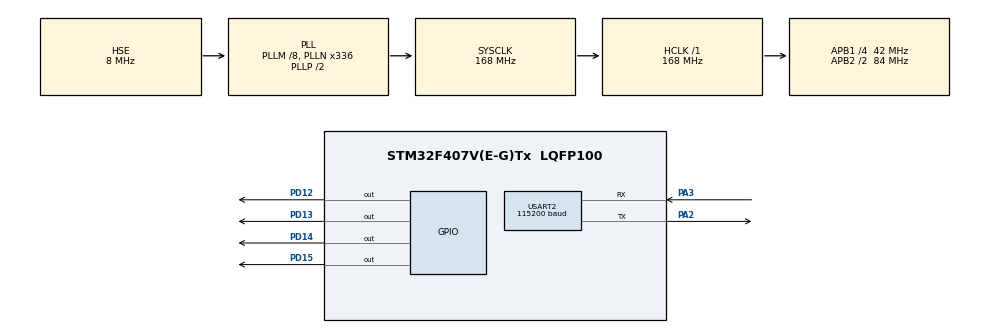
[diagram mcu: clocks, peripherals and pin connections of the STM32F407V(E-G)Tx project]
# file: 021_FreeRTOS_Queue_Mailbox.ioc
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FREERTOS.Tasks01=defaultTask,24,128,StartDefaultTask,Default,NULL,Dynamic,NULL,NULL
FREERTOS.configUSE_NEWLIB_REENTRANT=1
Mcu.Family=STM32F4
Mcu.Name=STM32F407V(E-G)Tx
Mcu.Package=LQFP100
NVIC.PriorityGroup=NVIC_PRIORITYGROUP_4
NVIC.TIM8_TRG_COM_TIM14_IRQn=true\:15\:0\:false\:false\:true\:false\:false\:true\:true
NVIC.TimeBase=TIM8_TRG_COM_TIM14_IRQn
NVIC.TimeBaseIP=TIM14
NVIC.USART2_IRQn=true\:5\:0\:false\:false\:true\:true\:true\:true\:true
PA2.Mode=Asynchronous
PA2.Signal=USART2_TX
PA3.Mode=Asynchronous
PA3.Signal=USART2_RX
PD12.Signal=GPIO_Output
PD13.Signal=GPIO_Output
PD14.Signal=GPIO_Output
PD15.Signal=GPIO_Output
PH0-OSC_IN.Mode=HSE-External-Oscillator
PH0-OSC_IN.Signal=RCC_OSC_IN
PH1-OSC_OUT.Mode=HSE-External-Oscillator
PH1-OSC_OUT.Signal=RCC_OSC_OUT
ProjectManager.HeapSize=0x200
ProjectManager.StackSize=0x400
ProjectManager.TargetToolchain=STM32CubeIDE
RCC.48MHZClocksFreq_Value=48000000
RCC.AHBFreq_Value=168000000
RCC.APB1CLKDivider=RCC_HCLK_DIV4
RCC.APB1Freq_Value=42000000
RCC.APB1TimFreq_Value=84000000
RCC.APB2CLKDivider=RCC_HCLK_DIV2
RCC.APB2Freq_Value=84000000
RCC.APB2TimFreq_Value=168000000
RCC.CortexFreq_Value=168000000
RCC.HCLKFreq_Value=168000000
RCC.HSE_VALUE=8000000
RCC.HSI_VALUE=16000000
RCC.LSE_VALUE=32768
RCC.PLLM=8
RCC.PLLN=336
RCC.PLLQ=7
RCC.PLLSourceVirtual=RCC_PLLSOURCE_HSE
RCC.SYSCLKFreq_VALUE=168000000
RCC.SYSCLKSource=RCC_SYSCLKSOURCE_PLLCLK
RCC.VCOOutputFreq_Value=336000000
USART2.BaudRate=115200
USART2.VirtualMode=VM_ASYNC
VP_FREERTOS_VS_CMSIS_V2.Mode=CMSIS_V2
VP_SYS_VS_tim14.Mode=TIM14
board=STM32F407G-DISC1

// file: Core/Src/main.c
/* USER CODE BEGIN Header */
/**
  ******************************************************************************
  * @file           : main.c
  * @brief          : Main program body
  ******************************************************************************
  * @attention
  *
  * Copyright (c) 2023 STMicroelectronics.
  * All rights reserved.
  *
  * This software is licensed under terms that can be found in the LICENSE file
  * in the root directory of this software component.
  * If no LICENSE file comes with this software, it is provided AS-IS.
  *
  ******************************************************************************
  */
/* USER CODE END Header */
#include "main.h"
/* USER CODE BEGIN Includes */
#include "FreeRTOS.h"
#include <stdlib.h>
#include <time.h>
#include "task.h"
#include <string.h>
#include "queue.h"
/* USER CODE END Includes */

UART_HandleTypeDef huart2;

/* Definitions for defaultTask */

/* USER CODE BEGIN PV */
QueueHandle_t xMailbox;

typedef struct xExampleStructure
{
	TickType_t xTimeStamp;
	uint32_t ulValue;
}Example_t;
/* USER CODE END PV */

void SystemClock_Config(void);
static void MX_GPIO_Init(void);
static void MX_USART2_UART_Init(void);

/* USER CODE BEGIN 0 */
void vAFunction(void)
{
	xMailbox = xQueueCreate(1, sizeof(Example_t));
}
void vUpdateMailbox(uint32_t ulNewValue)
{
	Example_t xData;

	xData.ulValue = ulNewValue;
	xData.xTimeStamp = xTaskGetTickCount();

	xQueueOverwrite(xMailbox, &xData);
}
BaseType_t vReadMailbox(Example_t *pxData)
{
	TickType_t xPreviousTimeStamp;
	BaseType_t xDataUpdated;

	xPreviousTimeStamp = pxData->xTimeStamp;

	xQueuePeek(xMailbox, pxData, portMAX_DELAY);
	if(pxData->xTimeStamp > xPreviousTimeStamp)
		xDataUpdated = pdTRUE;
	else
		xDataUpdated = pdFALSE;

	return xDataUpdated;
}
void generatorTask(void *pvParameters)
{
	time_t t;
	vAFunction();
	srand((unsigned)time(&t));
	while(1)
	{
		vTaskDelay(500);
		vUpdateMailbox(rand());
	}
}
void listenerTask(void *pvParameters)
{
	Example_t myData;
	myData.ulValue = 0;
	myData.xTimeStamp = 0;
	char buffer[50];
	while(1)
	{
		if(vReadMailbox(&myData) == pdTRUE)
		{
			HAL_GPIO_WritePin(GPIOD,GPIO_PIN_12, GPIO_PIN_SET);
			sprintf(buffer, "New data appeared. TimeStamp = %ld\r\n",myData.xTimeStamp);
			HAL_UART_Transmit(&huart2, (uint8_t *)buffer, strlen(buffer), HAL_MAX_DELAY);
		}

		else
			HAL_GPIO_WritePin(GPIOD, GPIO_PIN_12, GPIO_PIN_RESET);
	}
}
/* USER CODE END 0 */

int main(void)
{

  /* MCU Configuration--------------------------------------------------------*/

  /* Reset of all peripherals, Initializes the Flash interface and the Systick. */
  HAL_Init();

  /* Configure the system clock */
  SystemClock_Config();

  /* Initialize all configured peripherals */
  MX_GPIO_Init();
  MX_USART2_UART_Init();
  /* USER CODE BEGIN 2 */
  xTaskCreate(generatorTask, "generator", configMINIMAL_STACK_SIZE, NULL, 1, NULL);
  xTaskCreate(listenerTask, "listener", configMINIMAL_STACK_SIZE, NULL, 1, NULL);

  vTaskStartScheduler();
  /* USER CODE END 2 */

  /* Init scheduler */

  /* Create the thread(s) */
  /* creation of defaultTask */

  /* Start scheduler */

  /* We should never get here as control is now taken by the scheduler */
  /* Infinite loop */
  while (1)
  {

  }
}

void SystemClock_Config(void)
{
  RCC_OscInitTypeDef RCC_OscInitStruct = {0};
  RCC_ClkInitTypeDef RCC_ClkInitStruct = {0};

  /** Configure the main internal regulator output voltage
  */
  __HAL_RCC_PWR_CLK_ENABLE();
  __HAL_PWR_VOLTAGESCALING_CONFIG(PWR_REGULATOR_VOLTAGE_SCALE1);

  /** Initializes the RCC Oscillators according to the specified parameters
  * in the RCC_OscInitTypeDef structure.
  */
  RCC_OscInitStruct.OscillatorType = RCC_OSCILLATORTYPE_HSE;
  RCC_OscInitStruct.HSEState = RCC_HSE_ON;
  RCC_OscInitStruct.PLL.PLLState = RCC_PLL_ON;
  RCC_OscInitStruct.PLL.PLLSource = RCC_PLLSOURCE_HSE;
  RCC_OscInitStruct.PLL.PLLM = 8;
  RCC_OscInitStruct.PLL.PLLN = 336;
  RCC_OscInitStruct.PLL.PLLP = RCC_PLLP_DIV2;
  RCC_OscInitStruct.PLL.PLLQ = 7;
  if (HAL_RCC_OscConfig(&RCC_OscInitStruct) != HAL_OK)
  {
    Error_Handler();
  }

  /** Initializes the CPU, AHB and APB buses clocks
  */
  RCC_ClkInitStruct.ClockType = RCC_CLOCKTYPE_HCLK|RCC_CLOCKTYPE_SYSCLK
                              |RCC_CLOCKTYPE_PCLK1|RCC_CLOCKTYPE_PCLK2;
  RCC_ClkInitStruct.SYSCLKSource = RCC_SYSCLKSOURCE_PLLCLK;
  RCC_ClkInitStruct.AHBCLKDivider = RCC_SYSCLK_DIV1;
  RCC_ClkInitStruct.APB1CLKDivider = RCC_HCLK_DIV4;
  RCC_ClkInitStruct.APB2CLKDivider = RCC_HCLK_DIV2;

  if (HAL_RCC_ClockConfig(&RCC_ClkInitStruct, FLASH_LATENCY_5) != HAL_OK)
  {
    Error_Handler();
  }
}

static void MX_USART2_UART_Init(void)
{

  huart2.Instance = USART2;
  huart2.Init.BaudRate = 115200;
  huart2.Init.WordLength = UART_WORDLENGTH_8B;
  huart2.Init.StopBits = UART_STOPBITS_1;
  huart2.Init.Parity = UART_PARITY_NONE;
  huart2.Init.Mode = UART_MODE_TX_RX;
  huart2.Init.HwFlowCtl = UART_HWCONTROL_NONE;
  huart2.Init.OverSampling = UART_OVERSAMPLING_16;
  if (HAL_UART_Init(&huart2) != HAL_OK)
  {
    Error_Handler();
  }

}

static void MX_GPIO_Init(void)
{
  GPIO_InitTypeDef GPIO_InitStruct = {0};

  /* GPIO Ports Clock Enable */
  __HAL_RCC_GPIOH_CLK_ENABLE();
  __HAL_RCC_GPIOA_CLK_ENABLE();
  __HAL_RCC_GPIOD_CLK_ENABLE();

  /*Configure GPIO pin Output Level */
  HAL_GPIO_WritePin(GPIOD, GPIO_PIN_12|GPIO_PIN_13|GPIO_PIN_14|GPIO_PIN_15, GPIO_PIN_RESET);

  /*Configure GPIO pins : PD12 PD13 PD14 PD15 */
  GPIO_InitStruct.Pin = GPIO_PIN_12|GPIO_PIN_13|GPIO_PIN_14|GPIO_PIN_15;
  GPIO_InitStruct.Mode = GPIO_MODE_OUTPUT_PP;
  GPIO_InitStruct.Pull = GPIO_NOPULL;
  GPIO_InitStruct.Speed = GPIO_SPEED_FREQ_LOW;
  HAL_GPIO_Init(GPIOD, &GPIO_InitStruct);

}

void HAL_TIM_PeriodElapsedCallback(TIM_HandleTypeDef *htim)
{
  if (htim->Instance == TIM14) {
    HAL_IncTick();
  }
}

void Error_Handler(void)
{
  __disable_irq();
  while (1)
  {
  }
}
